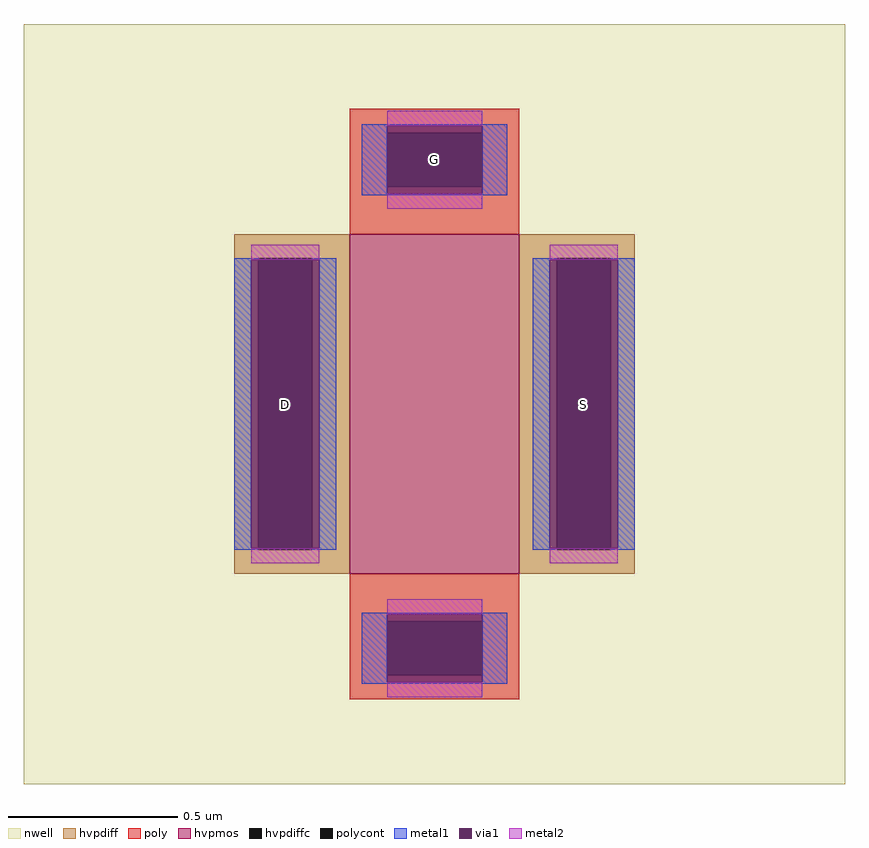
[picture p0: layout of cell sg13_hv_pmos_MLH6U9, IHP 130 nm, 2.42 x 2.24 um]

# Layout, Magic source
magic
tech ihp-sg13cmos5l
magscale 1 2
<< nwell >>
rect -242 -224 242 224
<< hvpmos >>
rect -50 -100 50 100
<< hvpdiff >>
rect -118 86 -50 100
rect -118 -86 -104 86
rect -72 -86 -50 86
rect -118 -100 -50 -86
rect 50 86 118 100
rect 50 -86 72 86
rect 104 -86 118 86
rect 50 -100 118 -86
<< hvpdiffc >>
rect -104 -86 -72 86
rect 72 -86 104 86
<< poly >>
rect -50 160 50 174
rect -50 128 -28 160
rect 28 128 50 160
rect -50 100 50 128
rect -50 -128 50 -100
rect -50 -160 -28 -128
rect 28 -160 50 -128
rect -50 -174 50 -160
<< polycont >>
rect -28 128 28 160
rect -28 -160 28 -128
<< metal1 >>
rect -43 164 43 165
rect -43 124 -28 164
rect 28 124 43 164
rect -43 123 43 124
rect -118 85 -104 86
rect -72 85 -58 86
rect -118 -85 -108 85
rect -68 -85 -58 85
rect -118 -86 -104 -85
rect -72 -86 -58 -85
rect 58 85 72 86
rect 104 85 118 86
rect 58 -85 68 85
rect 108 -85 118 85
rect 58 -86 72 -85
rect 104 -86 118 -85
rect -43 -124 43 -123
rect -43 -164 -28 -124
rect 28 -164 43 -124
rect -43 -165 43 -164
<< via1 >>
rect -28 160 28 164
rect -28 128 28 160
rect -28 124 28 128
rect -108 -85 -104 85
rect -104 -85 -72 85
rect -72 -85 -68 85
rect 68 -85 72 85
rect 72 -85 104 85
rect 104 -85 108 85
rect -28 -128 28 -124
rect -28 -160 28 -128
rect -28 -164 28 -160
<< metal2 >>
rect -28 164 28 173
rect -28 115 28 124
rect -108 85 -68 94
rect -108 -94 -68 -85
rect 68 85 108 94
rect 68 -94 108 -85
rect -28 -124 28 -115
rect -28 -173 28 -164
<< labels >>
rlabel hvpdiffc -88 0 -88 0 0 D
port 1 nsew
rlabel hvpdiffc 88 0 88 0 0 S
port 2 nsew
rlabel polycont 0 144 0 144 0 G
port 3 nsew
<< properties >>
string gencell sg13_hv_pmos
string library sg13cmos5l
string parameters w 1 l 0.5 m 1 ng 1 diffcov 100 polycov 100 guard 0 glc 0 grc 0 gtc 0 gbc 0 tbcov 100 rlcov 100 topc 1 botc 1 poverlap 0 doverlap 1 lmin 0.4 wmin 0.15 class mosfet compatible {sg13_lv_pmos sg13_hv_pmos} full_metal 0 conn_gates 0 gate_ring 0 ccols 1 viasrc 100 viadrn 100 viagate 100 viagb 0 viagr 0 viagl 0 viagt 0 doports 1
<< end >>
